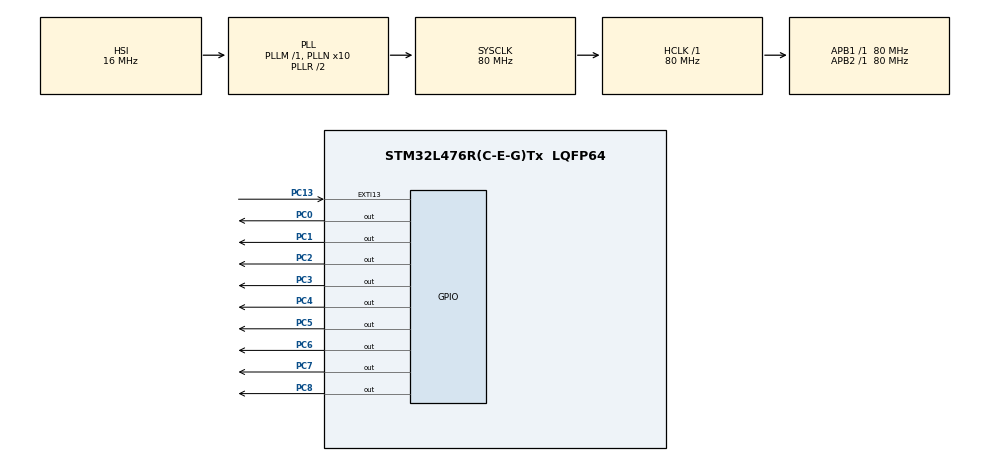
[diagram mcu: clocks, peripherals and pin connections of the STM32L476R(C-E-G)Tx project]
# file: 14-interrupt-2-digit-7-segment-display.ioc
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Mcu.Family=STM32L4
Mcu.Name=STM32L476R(C-E-G)Tx
Mcu.Package=LQFP64
NVIC.EXTI15_10_IRQn=true\:0\:0\:false\:false\:true\:true\:true\:true
NVIC.PriorityGroup=NVIC_PRIORITYGROUP_4
PC0.Signal=GPIO_Output
PC1.Signal=GPIO_Output
PC13.GPIO_ModeDefaultEXTI=GPIO_MODE_IT_FALLING
PC13.Signal=GPXTI13
PC2.Signal=GPIO_Output
PC3.Signal=GPIO_Output
PC4.Signal=GPIO_Output
PC5.Signal=GPIO_Output
PC6.Signal=GPIO_Output
PC7.Signal=GPIO_Output
PC8.Signal=GPIO_Output
ProjectManager.HeapSize=0x200
ProjectManager.StackSize=0x400
ProjectManager.TargetToolchain=STM32CubeIDE
RCC.ADCFreq_Value=64000000
RCC.AHBFreq_Value=80000000
RCC.APB1Freq_Value=80000000
RCC.APB1TimFreq_Value=80000000
RCC.APB2Freq_Value=80000000
RCC.APB2TimFreq_Value=80000000
RCC.CortexFreq_Value=80000000
RCC.HCLKFreq_Value=80000000
RCC.HSE_VALUE=8000000
RCC.HSI_VALUE=16000000
RCC.MSI_VALUE=4000000
RCC.PLLN=10
RCC.PLLSourceVirtual=RCC_PLLSOURCE_HSI
RCC.PREFETCH_ENABLE=1
RCC.SYSCLKFreq_VALUE=80000000
RCC.SYSCLKSource=RCC_SYSCLKSOURCE_PLLCLK
RCC.USBFreq_Value=64000000
RCC.VCOOutputFreq_Value=160000000
board=NUCLEO-L476RG

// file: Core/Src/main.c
/* USER CODE BEGIN Header */
/**
  ******************************************************************************
  * @file           : main.c
  * @brief          : Main program body
  ******************************************************************************
  * @attention
  *
  * Copyright (c) 2025 STMicroelectronics.
  * All rights reserved.
  *
  * This software is licensed under terms that can be found in the LICENSE file
  * in the root directory of this software component.
  * If no LICENSE file comes with this software, it is provided AS-IS.
  *
  ******************************************************************************
  */
/* USER CODE END Header */
#include "main.h"

void SystemClock_Config(void);
static void MX_GPIO_Init(void);

/* USER CODE BEGIN 0 */
int CounterNumber = 0;    //counter number
int LSB = 0;    //LSB number
int MSB = 0;    //MSB number
//array of register hex number
int LED_Hex[] = {
  0x3F,    // 0
  0x06,    // 1
  0x5B,    // 2
  0x4F,    // 3
  0x66,    // 4
  0x6D,    // 5
  0x7D,    // 6
  0x07,    // 7
  0x7F,    // 8
  0x6F     // 9
};

void HAL_GPIO_EXTI_Callback(uint16_t GPIO_Pin){
  CounterNumber++;    //add counter number
  //check the max counter number
  if(CounterNumber > 99) {
    CounterNumber = 0;    //reset counter to zero
  }
  LSB = CounterNumber % 10;    //LSB number
  MSB = (CounterNumber-LSB) / 10;    //MSB number
}
/* USER CODE END 0 */

int main(void)
{

  /* MCU Configuration--------------------------------------------------------*/

  /* Reset of all peripherals, Initializes the Flash interface and the Systick. */
  HAL_Init();

  /* Configure the system clock */
  SystemClock_Config();

  /* Initialize all configured peripherals */
  MX_GPIO_Init();
  /* USER CODE BEGIN 2 */

  HAL_GPIO_WritePin(GPIOC, digit1, GPIO_PIN_RESET);    //clear digit1
  HAL_GPIO_WritePin(GPIOC, digit2, GPIO_PIN_RESET);    //clear digit2

  /* USER CODE END 2 */

  /* Infinite loop */
  /* USER CODE BEGIN WHILE */
  while (1)
  {
    //MSB number
    if(MSB != 0){
      GPIOC -> ODR = LED_Hex[MSB];    //write to digit1 register
      HAL_GPIO_WritePin(GPIOC, digit1, GPIO_PIN_SET);    //enable digit1
      HAL_Delay(10);    //delay time
      HAL_GPIO_WritePin(GPIOC, digit1, GPIO_PIN_RESET);    //disable digit1
    }
	//LSB number
    GPIOC -> ODR = LED_Hex[LSB];    //write to digit2 register
    HAL_GPIO_WritePin(GPIOC, digit2, GPIO_PIN_SET);    //enable digit2
    HAL_Delay(10);    //delay time
    HAL_GPIO_WritePin(GPIOC, digit2, GPIO_PIN_RESET);    //disable digit2
    /* USER CODE END WHILE */

  }
}

void SystemClock_Config(void)
{
  RCC_OscInitTypeDef RCC_OscInitStruct = {0};
  RCC_ClkInitTypeDef RCC_ClkInitStruct = {0};

  /** Configure the main internal regulator output voltage
  */
  if (HAL_PWREx_ControlVoltageScaling(PWR_REGULATOR_VOLTAGE_SCALE1) != HAL_OK)
  {
    Error_Handler();
  }

  /** Initializes the RCC Oscillators according to the specified parameters
  * in the RCC_OscInitTypeDef structure.
  */
  RCC_OscInitStruct.OscillatorType = RCC_OSCILLATORTYPE_HSI;
  RCC_OscInitStruct.HSIState = RCC_HSI_ON;
  RCC_OscInitStruct.HSICalibrationValue = RCC_HSICALIBRATION_DEFAULT;
  RCC_OscInitStruct.PLL.PLLState = RCC_PLL_ON;
  RCC_OscInitStruct.PLL.PLLSource = RCC_PLLSOURCE_HSI;
  RCC_OscInitStruct.PLL.PLLM = 1;
  RCC_OscInitStruct.PLL.PLLN = 10;
  RCC_OscInitStruct.PLL.PLLP = RCC_PLLP_DIV7;
  RCC_OscInitStruct.PLL.PLLQ = RCC_PLLQ_DIV2;
  RCC_OscInitStruct.PLL.PLLR = RCC_PLLR_DIV2;
  if (HAL_RCC_OscConfig(&RCC_OscInitStruct) != HAL_OK)
  {
    Error_Handler();
  }

  /** Initializes the CPU, AHB and APB buses clocks
  */
  RCC_ClkInitStruct.ClockType = RCC_CLOCKTYPE_HCLK|RCC_CLOCKTYPE_SYSCLK
                              |RCC_CLOCKTYPE_PCLK1|RCC_CLOCKTYPE_PCLK2;
  RCC_ClkInitStruct.SYSCLKSource = RCC_SYSCLKSOURCE_PLLCLK;
  RCC_ClkInitStruct.AHBCLKDivider = RCC_SYSCLK_DIV1;
  RCC_ClkInitStruct.APB1CLKDivider = RCC_HCLK_DIV1;
  RCC_ClkInitStruct.APB2CLKDivider = RCC_HCLK_DIV1;

  if (HAL_RCC_ClockConfig(&RCC_ClkInitStruct, FLASH_LATENCY_4) != HAL_OK)
  {
    Error_Handler();
  }
}

static void MX_GPIO_Init(void)
{
  GPIO_InitTypeDef GPIO_InitStruct = {0};

  /* GPIO Ports Clock Enable */
  __HAL_RCC_GPIOC_CLK_ENABLE();

  /*Configure GPIO pin Output Level */
  HAL_GPIO_WritePin(GPIOC, GPIO_PIN_0|GPIO_PIN_1|GPIO_PIN_2|GPIO_PIN_3
                          |GPIO_PIN_4|GPIO_PIN_5|GPIO_PIN_6|GPIO_PIN_7
                          |GPIO_PIN_8, GPIO_PIN_RESET);

  /*Configure GPIO pin : PC13 */
  GPIO_InitStruct.Pin = GPIO_PIN_13;
  GPIO_InitStruct.Mode = GPIO_MODE_IT_FALLING;
  GPIO_InitStruct.Pull = GPIO_NOPULL;
  HAL_GPIO_Init(GPIOC, &GPIO_InitStruct);

  /*Configure GPIO pins : PC0 PC1 PC2 PC3
                           PC4 PC5 PC6 PC7
                           PC8 */
  GPIO_InitStruct.Pin = GPIO_PIN_0|GPIO_PIN_1|GPIO_PIN_2|GPIO_PIN_3
                          |GPIO_PIN_4|GPIO_PIN_5|GPIO_PIN_6|GPIO_PIN_7
                          |GPIO_PIN_8;
  GPIO_InitStruct.Mode = GPIO_MODE_OUTPUT_PP;
  GPIO_InitStruct.Pull = GPIO_NOPULL;
  GPIO_InitStruct.Speed = GPIO_SPEED_FREQ_LOW;
  HAL_GPIO_Init(GPIOC, &GPIO_InitStruct);

  /* EXTI interrupt init*/
  HAL_NVIC_SetPriority(EXTI15_10_IRQn, 0, 0);
  HAL_NVIC_EnableIRQ(EXTI15_10_IRQn);

}

void Error_Handler(void)
{
  __disable_irq();
  while (1)
  {
  }
}
